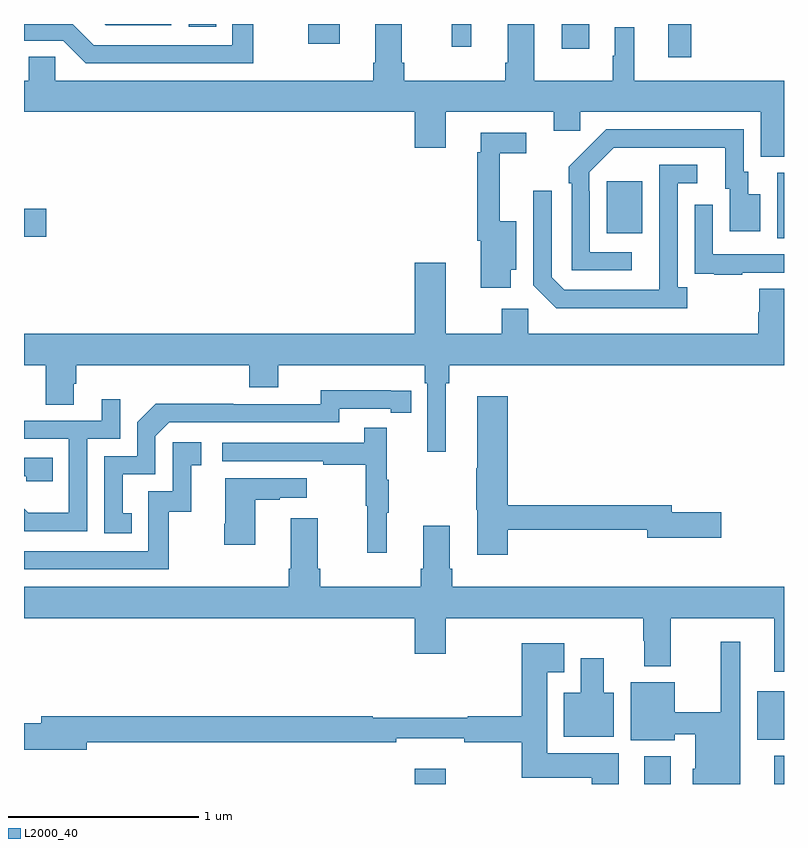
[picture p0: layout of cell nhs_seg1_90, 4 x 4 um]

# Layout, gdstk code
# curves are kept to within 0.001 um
import gdstk
lib = gdstk.Library(unit=1e-6, precision=1e-09)
def R(c, l, rs):  # rectangles x0, y0, x1, y1
    for r in rs: c.add(gdstk.rectangle(r[:2], r[2:], *l))
def P(c, l, *ps):  # polygons
    for p in ps: c.add(gdstk.Polygon(p, *l))
L2000_40 = (2000, 40)

nhs_seg1_90 = lib.new_cell('nhs_seg1_90')
R(nhs_seg1_90, L2000_40, [(117.056,544.199,117.22,544.279), (118.265,544.199,118.405,544.345), (118.949,544.199,119,544.348), (118.859,544.433,119,544.687), (118.964,547.072,119,547.416), (115,547.079,115.117,547.226), (118.067,547.097,118.255,547.372), (118.391,548.025,118.513,548.199), (117.83,548.07,117.976,548.199), (117.25,548.079,117.353,548.199), (116.497,548.094,116.662,548.199), (115.866,548.184,116.012,548.199)])
P(nhs_seg1_90, L2000_40, [(119,547.9),(118.213,547.9),(118.213,548.182),(118.109,548.182),(118.109,548.033),(118.099,548.033),(118.099,547.9),(117.685,547.9),(117.685,548.199),(117.545,548.199),(117.545,547.996),(117.533,547.996),(117.533,547.9),(117.002,547.9),(117.002,547.996),(116.989,547.996),(116.989,548.199),(116.849,548.199),(116.849,547.996),(116.837,547.996),(116.837,547.9),(115.164,547.9),(115.164,548.027),(115.025,548.027),(115.025,547.9),(115,547.9),(115,547.736),(117.056,547.736),(117.056,547.548),(117.22,547.548),(117.22,547.736),(117.788,547.736),(117.788,547.638),(117.927,547.638),(117.927,547.736),(118.877,547.736),(118.877,547.501),(119,547.501)],
  [(115.776,548.199),(115.424,548.199),(115.43,548.193),(115.776,548.193)],
  [(116.206,548.199),(116.097,548.199),(116.097,548.088),(115.368,548.088),(115.257,548.199),(115,548.199),(115,548.112),(115.206,548.112),(115.326,547.992),(116.206,547.992)],
  [(118.198,546.999),(117.978,546.999),(117.978,547.319),(117.975,547.319),(117.975,547.419),(118.104,547.548),(118.691,547.548),(118.691,547.332),(118.715,547.332),(118.715,547.107),(118.876,547.107),(118.876,547.303),(118.813,547.303),(118.813,547.422),(118.788,547.422),(118.788,547.644),(118.064,547.644),(117.867,547.449),(117.867,547.361),(117.882,547.361),(117.882,546.903),(118.198,546.903)],
  [(117.562,546.905),(117.592,546.905),(117.592,547.162),(117.503,547.162),(117.503,547.518),(117.643,547.518),(117.643,547.626),(117.404,547.626),(117.404,547.523),(117.385,547.523),(117.385,547.058),(117.404,547.058),(117.404,546.81),(117.562,546.81)],
  [(118.492,546.814),(118.44,546.814),(118.44,547.362),(118.543,547.362),(118.543,547.458),(118.344,547.458),(118.343,546.801),(117.843,546.801),(117.777,546.867),(117.777,547.321),(117.681,547.321),(117.681,546.825),(117.802,546.704),(118.492,546.704)],
  [(118.781,546.891),(119,546.891),(119,546.987),(118.626,546.987),(118.626,547.249),(118.53,547.249),(118.53,546.994),(118.531,546.994),(118.531,546.885),(118.633,546.885),(118.633,546.879),(118.781,546.879)],
  [(117.22,546.308),(117.239,546.308),(117.239,546.404),(119,546.404),(119,546.806),(118.87,546.806),(118.87,546.681),(118.865,546.681),(118.865,546.568),(117.654,546.568),(117.654,546.7),(117.515,546.7),(117.515,546.568),(117.22,546.568),(117.22,546.943),(117.056,546.943),(117.056,546.568),(115,546.568),(115,546.404),(115.114,546.404),(115.114,546.196),(115.261,546.196),(115.261,546.306),(115.274,546.306),(115.274,546.404),(116.186,546.404),(116.186,546.287),(116.338,546.287),(116.338,546.404),(117.11,546.404),(117.11,546.308),(117.123,546.308),(117.123,545.949),(117.22,545.949)],
  [(115.568,545.625),(115.519,545.625),(115.519,545.829),(115.692,545.829),(115.692,546.03),(115.764,546.102),(116.658,546.102),(116.658,546.174),(116.93,546.174),(116.93,546.154),(117.038,546.154),(117.038,546.27),(116.562,546.271),(116.562,546.198),(116.102,546.198),(116.102,546.2),(115.694,546.2),(115.596,546.102),(115.596,545.925),(115.422,545.925),(115.422,545.52),(115.568,545.52)],
  [(117.545,545.538),(118.28,545.538),(118.28,545.495),(118.669,545.495),(118.669,545.63),(118.408,545.63),(118.408,545.666),(117.545,545.666),(117.545,546.241),(117.386,546.241),(117.386,545.861),(117.379,545.861),(117.379,545.643),(117.386,545.643),(117.386,545.406),(117.545,545.406)],
  [(115.332,546.015),(115.506,546.015),(115.506,546.223),(115.409,546.223),(115.409,546.111),(115,546.111),(115,546.015),(115.236,546.015),(115.236,545.626),(115.022,545.626),(115,545.648),(115,545.529),(115.332,545.529)],
  [(116.909,545.627),(116.92,545.627),(116.92,545.801),(116.909,545.801),(116.909,546.073),(116.791,546.073),(116.791,545.994),(116.043,545.994),(116.043,545.898),(116.575,545.898),(116.575,545.878),(116.799,545.878),(116.799,545.664),(116.806,545.664),(116.806,545.415),(116.909,545.415)],
  [(115.762,545.631),(115.88,545.631),(115.88,545.877),(115.933,545.877),(115.933,545.998),(115.782,545.998),(115.782,545.739),(115.653,545.739),(115.653,545.424),(115,545.424),(115,545.328),(115.762,545.328)],
  [(115.151,545.916),(115,545.916),(115,545.82),(115.011,545.82),(115.011,545.793),(115.151,545.793)],
  [(116.218,545.695),(116.345,545.695),(116.345,545.705),(116.488,545.705),(116.488,545.809),(116.06,545.809),(116.06,545.569),(116.053,545.569),(116.053,545.457),(116.218,545.457)],
  [(119,545.236),(117.254,545.236),(117.254,545.332),(117.241,545.332),(117.241,545.557),(117.101,545.557),(117.101,545.332),(117.089,545.332),(117.089,545.236),(116.558,545.236),(116.558,545.332),(116.545,545.332),(116.545,545.599),(116.405,545.599),(116.405,545.332),(116.393,545.332),(116.393,545.236),(115,545.236),(115,545.072),(117.056,545.072),(117.056,544.884),(117.22,544.884),(117.22,545.072),(118.258,545.072),(118.258,544.952),(118.265,544.952),(118.265,544.82),(118.405,544.82),(118.405,545.072),(118.949,545.072),(118.949,544.791),(119,544.791)],
  [(118.771,544.948),(118.667,544.948),(118.667,544.577),(118.426,544.577),(118.426,544.735),(118.193,544.735),(118.193,544.43),(118.426,544.43),(118.426,544.46),(118.532,544.46),(118.532,544.278),(118.52,544.278),(118.52,544.199),(118.771,544.199)],
  [(118.129,544.36),(117.754,544.36),(117.754,544.787),(117.844,544.787),(117.844,544.939),(117.62,544.939),(117.62,544.556),(117.336,544.556),(117.336,544.549),(116.836,544.549),(116.836,544.556),(115.091,544.556),(115.091,544.52),(115,544.52),(115,544.378),(115.33,544.378),(115.33,544.42),(116.96,544.42),(116.96,544.439),(117.316,544.439),(117.316,544.42),(117.62,544.42),(117.62,544.232),(117.989,544.232),(117.989,544.199),(118.129,544.199)],
  [(118.105,544.678),(118.051,544.678),(118.051,544.861),(117.929,544.861),(117.929,544.678),(117.842,544.678),(117.842,544.448),(118.105,544.448)])

lib.write_gds('nhs_seg1_90.gds')
